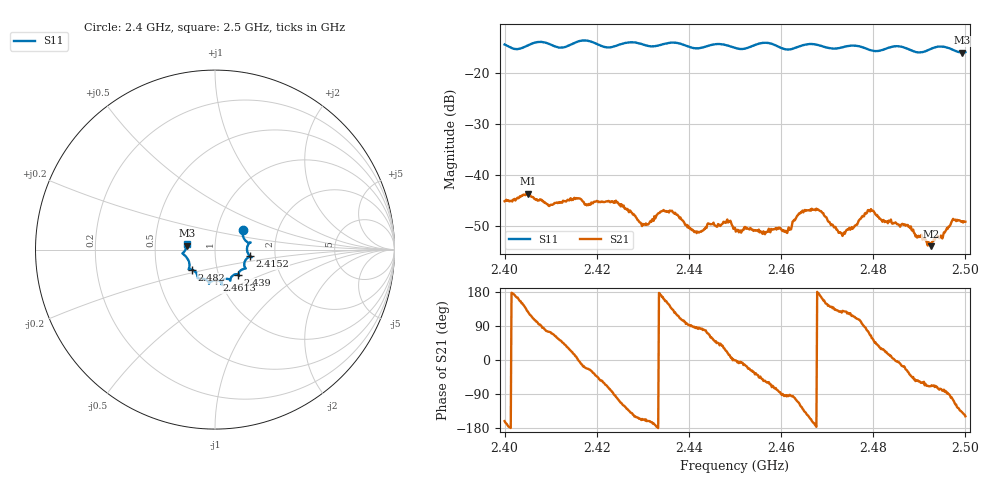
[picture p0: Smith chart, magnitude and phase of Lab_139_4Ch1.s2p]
# Hz S RI R 50
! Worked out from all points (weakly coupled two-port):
!   601 points, 2.4 GHz to 2.5 GHz, reference 50 ohm
!   highest |S21| = -43.67 dB at 2.4052 GHz (marker M1); lowest = -54.0 dB at 2.4925 GHz (marker M2)
!   lowest |S11| = -16.0 dB at 2.4993 GHz (marker M3), VSWR 1.38, Z = 36.3 + j1.59 ohm
!   |S11| at or under -10 dB: start of sweep to end of sweep
!   S12 and S22 are empty: the file has one direction only
!   S11 on the Smith chart (normalised r, x): 2.4 GHz: 1.33, +0.31; 2.4152 GHz: 1.48, -0.11; 2.439 GHz: 1.24, -0.36; 2.4613 GHz: 0.96, -0.34; 2.482 GHz: 0.76, -0.17; 2.5 GHz: 0.73, +0.05
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2.4e9  0.1557 0.1111  -0.00524 -0.00178  0 0  0 0
2.405167e9  0.1843 0.0395  -0.00379 0.00534  0 0  0 0
2.409833e9  0.1892 0.0334  0.00141 0.00483  0 0  0 0
2.415167e9  0.1948 -0.0371  0.0058 0.00147  0 0  0 0
2.416667e9  0.2042 -0.0427  0.00565 -0.0011  0 0  0 0
2.424333e9  0.1635 -0.0895  -0.000883 -0.00533  0 0  0 0
2.43e9  0.1581 -0.1083  -0.00306 -0.00129  0 0  0 0
2.433333e9  0.132 -0.1322  -0.00421 -1.64e-05  0 0  0 0
2.439e9  0.1279 -0.1388  -0.000641 0.00335  0 0  0 0
2.441667e9  0.1016 -0.143  0.000155 0.00269  0 0  0 0
2.4485e9  0.0817 -0.1673  0.00329 0.000947  0 0  0 0
2.45e9  0.0688 -0.1631  0.00304 -4.42e-05  0 0  0 0
2.461333e9  0.00781 -0.1707  -0.000142 -0.0027  0 0  0 0
2.466667e9  -0.0334 -0.1904  -0.00441 -0.00154  0 0  0 0
2.473e9  -0.0779 -0.1602  -0.00161 0.00215  0 0  0 0
2.479167e9  -0.1017 -0.1357  0.00159 0.00417  0 0  0 0
2.482e9  -0.1265 -0.1121  0.00307 0.00163  0 0  0 0
2.483333e9  -0.1396 -0.11  0.00346 0.000881  0 0  0 0
2.4925e9  -0.1706 -0.0308  0.000713 -0.00187  0 0  0 0
2.497333e9  -0.1689 -0.00784  -0.00099 -0.00358  0 0  0 0
2.499333e9  -0.1579 0.0214  -0.00265 -0.00234  0 0  0 0
2.5e9  -0.1576 0.0333  -0.00297 -0.00182  0 0  0 0
